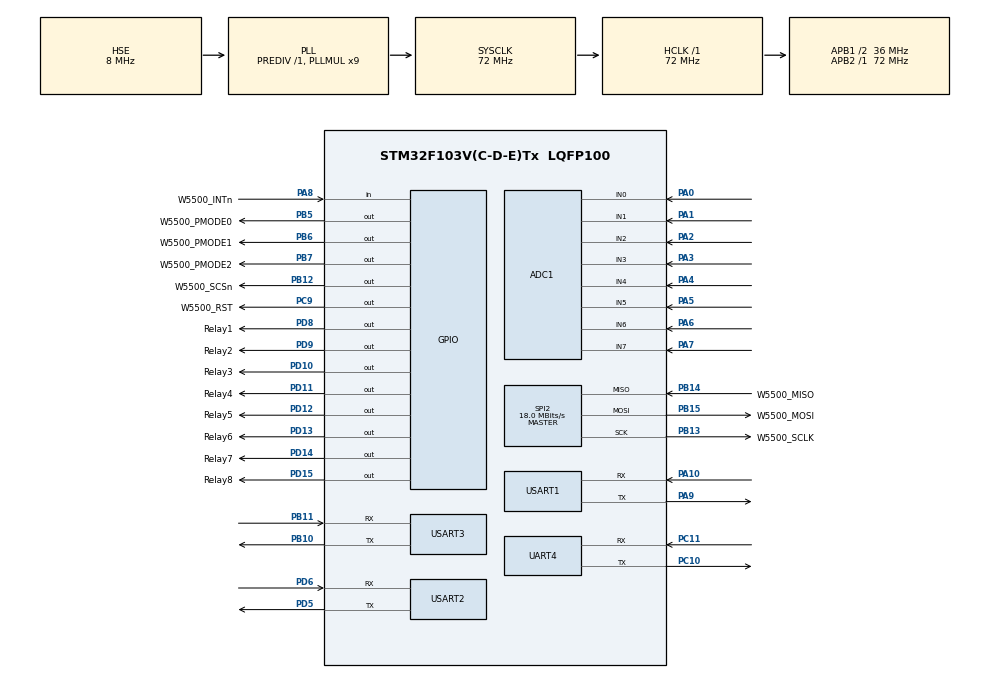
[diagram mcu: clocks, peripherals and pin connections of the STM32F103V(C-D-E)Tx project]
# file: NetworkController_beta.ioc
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ADC1.Channel-4\#ChannelRegularConversion=ADC_CHANNEL_5
ADC1.NbrOfConversionFlag=1
ADC1.Rank-4\#ChannelRegularConversion=1
ADC1.SamplingTime-4\#ChannelRegularConversion=ADC_SAMPLETIME_1CYCLE_5
ADC1.master=1
Mcu.Family=STM32F1
Mcu.Name=STM32F103V(C-D-E)Tx
Mcu.Package=LQFP100
NVIC.PriorityGroup=NVIC_PRIORITYGROUP_4
NVIC.TIM2_IRQn=true\:0\:0\:false\:false\:true\:true\:true\:true
OSC_IN.Mode=HSE-External-Oscillator
OSC_IN.Signal=RCC_OSC_IN
OSC_OUT.Mode=HSE-External-Oscillator
OSC_OUT.Signal=RCC_OSC_OUT
PA0-WKUP.Signal=ADCx_IN0
PA1.Signal=ADCx_IN1
PA10.Mode=Asynchronous
PA10.Signal=USART1_RX
PA13.Mode=JTAG_5_pins
PA13.Signal=SYS_JTMS-SWDIO
PA14.Mode=JTAG_5_pins
PA14.Signal=SYS_JTCK-SWCLK
PA15.Mode=JTAG_5_pins
PA15.Signal=SYS_JTDI
PA2.Signal=ADCx_IN2
PA3.Signal=ADCx_IN3
PA4.Signal=ADCx_IN4
PA5.Signal=ADCx_IN5
PA6.Signal=ADCx_IN6
PA7.Signal=ADCx_IN7
PA8.GPIO_Label=W5500_INTn
PA8.Signal=GPIO_Input
PA9.Mode=Asynchronous
PA9.Signal=USART1_TX
PB10.Mode=Asynchronous
PB10.Signal=USART3_TX
PB11.Mode=Asynchronous
PB11.Signal=USART3_RX
PB12.GPIO_Label=W5500_SCSn
PB12.Signal=GPIO_Output
PB13.GPIO_Label=W5500_SCLK
PB13.Mode=Full_Duplex_Master
PB13.Signal=SPI2_SCK
PB14.GPIO_Label=W5500_MISO
PB14.Mode=Full_Duplex_Master
PB14.Signal=SPI2_MISO
PB15.GPIO_Label=W5500_MOSI
PB15.Mode=Full_Duplex_Master
PB15.Signal=SPI2_MOSI
PB3.Mode=JTAG_5_pins
PB3.Signal=SYS_JTDO-TRACESWO
PB4.Mode=JTAG_5_pins
PB4.Signal=SYS_NJTRST
PB5.GPIO_Label=W5500_PMODE0
PB5.Signal=GPIO_Output
PB6.GPIO_Label=W5500_PMODE1
PB6.Signal=GPIO_Output
PB7.GPIO_Label=W5500_PMODE2
PB7.Signal=GPIO_Output
PC10.Mode=Asynchronous
PC10.Signal=UART4_TX
PC11.Mode=Asynchronous
PC11.Signal=UART4_RX
PC9.GPIO_Label=W5500_RST
PC9.Signal=GPIO_Output
PD10.GPIO_Label=Relay3
PD10.Signal=GPIO_Output
PD11.GPIO_Label=Relay4
PD11.Signal=GPIO_Output
PD12.GPIO_Label=Relay5
PD12.Signal=GPIO_Output
PD13.GPIO_Label=Relay6
PD13.Signal=GPIO_Output
PD14.GPIO_Label=Relay7
PD14.Signal=GPIO_Output
PD15.GPIO_Label=Relay8
PD15.Signal=GPIO_Output
PD5.Mode=Asynchronous
PD5.Signal=USART2_TX
PD6.Mode=Asynchronous
PD6.Signal=USART2_RX
PD8.GPIO_Label=Relay1
PD8.Signal=GPIO_Output
PD9.GPIO_Label=Relay2
PD9.Signal=GPIO_Output
ProjectManager.HeapSize=0x200
ProjectManager.StackSize=0x400
ProjectManager.TargetToolchain=Makefile
RCC.ADCPresc=RCC_ADCPCLK2_DIV6
RCC.AHBFreq_Value=72000000
RCC.APB1CLKDivider=RCC_HCLK_DIV2
RCC.APB1Freq_Value=36000000
RCC.APB1TimFreq_Value=72000000
RCC.APB2Freq_Value=72000000
RCC.APB2TimFreq_Value=72000000
RCC.HCLKFreq_Value=72000000
RCC.PLLMUL=RCC_PLL_MUL9
RCC.PLLSourceVirtual=RCC_PLLSOURCE_HSE
RCC.SYSCLKFreq_VALUE=72000000
RCC.SYSCLKSource=RCC_SYSCLKSOURCE_PLLCLK
RCC.USBFreq_Value=72000000
SH.ADCx_IN0.0=ADC1_IN0,IN0
SH.ADCx_IN1.0=ADC1_IN1,IN1
SH.ADCx_IN2.0=ADC1_IN2,IN2
SH.ADCx_IN3.0=ADC1_IN3,IN3
SH.ADCx_IN4.0=ADC1_IN4,IN4
SH.ADCx_IN5.0=ADC1_IN5,IN5
SH.ADCx_IN6.0=ADC1_IN6,IN6
SH.ADCx_IN7.0=ADC1_IN7,IN7
SPI2.CalculateBaudRate=18.0 MBits/s
SPI2.Direction=SPI_DIRECTION_2LINES
SPI2.Mode=SPI_MODE_MASTER
SPI2.VirtualType=VM_MASTER
TIM2.AutoReloadPreload=TIM_AUTORELOAD_PRELOAD_DISABLE
TIM2.Period=100-1
TIM2.Prescaler=7200-1
TIM3.Period=1000-1
TIM3.Prescaler=7200-1
UART4.VirtualMode=Asynchronous
USART1.VirtualMode=VM_ASYNC
USART2.VirtualMode=VM_ASYNC
USART3.VirtualMode=VM_ASYNC
VP_TIM2_VS_ClockSourceINT.Mode=Internal
VP_TIM3_VS_ClockSourceINT.Mode=Internal
board=custom

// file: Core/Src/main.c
/* USER CODE BEGIN Header */
/**
  ******************************************************************************
  * @file           : main.c
  * @brief          : Main program body
  ******************************************************************************
  * @attention
  *
  * Copyright (c) 2023 STMicroelectronics.
  * All rights reserved.
  *
  * This software is licensed under terms that can be found in the LICENSE file
  * in the root directory of this software component.
  * If no LICENSE file comes with this software, it is provided AS-IS.
  *
  ******************************************************************************
  */
/* USER CODE END Header */
#include "main.h"
#include "adc.h"
#include "spi.h"
#include "tim.h"
#include "usart.h"
#include "gpio.h"

/* USER CODE BEGIN Includes */
#include <stdio.h>
#include <string.h>
#include <errno.h>
#include "flash.h"
#include "clib.h"
#include "network.h"
#include "mqtt.h"
#include "at.h"
#include "control.h"
/* USER CODE END Includes */

/* USER CODE BEGIN PV */
mqtt_client_t mqtt_client1;

#ifndef DHCP_CONF
/*用户配置参数*/
userparameter_t user_config;

/*配置参数有效标志*/
uint8_t user_valid_flag = 0;
#endif
/* USER CODE END PV */

void SystemClock_Config(void);

/* USER CODE BEGIN 0 */
int _write(int file, char* data, int len)
{
    if ((file != STDOUT_FILENO) && (file != STDERR_FILENO)) {
        errno = EBADF;
        return -1;
    }
    // arbitrary timeout 1000
    HAL_StatusTypeDef status =
        HAL_UART_Transmit(&huart1, (uint8_t*)data, len, 1000);
    // return # of bytes written - as best we can tell
    return (status == HAL_OK ? len : 0);
}
/* USER CODE END 0 */

int main(void)
{

  /* MCU Configuration--------------------------------------------------------*/

  /* Reset of all peripherals, Initializes the Flash interface and the Systick. */
  HAL_Init();

  /* Configure the system clock */
  SystemClock_Config();

  /* Initialize all configured peripherals */
  MX_GPIO_Init();
  MX_USART1_UART_Init();
  MX_TIM2_Init();
  MX_ADC1_Init();
  MX_SPI2_Init();
  MX_TIM3_Init();
  MX_UART4_Init();
  MX_USART2_UART_Init();
  MX_USART3_UART_Init();
  /* USER CODE BEGIN 2 */

    /* W5500库回调函数注册 */
    Wizchip_Callback_Init();
#ifdef USER_CONF
    /* 用户网络参数配置 */
    // Network_UserConfig_Init();
#endif
    /* 网络初始化 */
    Network_Init();
  /* USER CODE END 2 */

  /* Infinite loop */
  /* USER CODE BEGIN WHILE */
    while (1) {
        if (PHY_LINK_ON == Network_PHYLink_Check()) {
#ifdef DHCP_CONF
            DHCP_ClientDaemon();
#else
            Network_UserConfig_SettingDaemon(SOC_SETTING, &user_config, user_valid_flag);
#endif
            if (1 == net_flag) {
                if (SOCK_CLOSED == getSn_SR(SOC_MQTT)) {
                    MQTT_Init(&mqtt_client1);
                }
                if (SOCK_ESTABLISHED == getSn_SR(SOC_MQTT)) {
                    MQTT_ClientDaemon(&mqtt_client1);
                    AT_CMD_Parse(at_buf, sizeof(at_buf));
                }
            }
        }
        else {
            net_flag = 0;
        }

        // Computer_Execute();
        // Projector_Execute();
    }
    /* USER CODE END WHILE */

}

void SystemClock_Config(void)
{
  RCC_OscInitTypeDef RCC_OscInitStruct = {0};
  RCC_ClkInitTypeDef RCC_ClkInitStruct = {0};
  RCC_PeriphCLKInitTypeDef PeriphClkInit = {0};

  /** Initializes the RCC Oscillators according to the specified parameters
  * in the RCC_OscInitTypeDef structure.
  */
  RCC_OscInitStruct.OscillatorType = RCC_OSCILLATORTYPE_HSE;
  RCC_OscInitStruct.HSEState = RCC_HSE_ON;
  RCC_OscInitStruct.HSEPredivValue = RCC_HSE_PREDIV_DIV1;
  RCC_OscInitStruct.HSIState = RCC_HSI_ON;
  RCC_OscInitStruct.PLL.PLLState = RCC_PLL_ON;
  RCC_OscInitStruct.PLL.PLLSource = RCC_PLLSOURCE_HSE;
  RCC_OscInitStruct.PLL.PLLMUL = RCC_PLL_MUL9;
  if (HAL_RCC_OscConfig(&RCC_OscInitStruct) != HAL_OK)
  {
    Error_Handler();
  }

  /** Initializes the CPU, AHB and APB buses clocks
  */
  RCC_ClkInitStruct.ClockType = RCC_CLOCKTYPE_HCLK|RCC_CLOCKTYPE_SYSCLK
                              |RCC_CLOCKTYPE_PCLK1|RCC_CLOCKTYPE_PCLK2;
  RCC_ClkInitStruct.SYSCLKSource = RCC_SYSCLKSOURCE_PLLCLK;
  RCC_ClkInitStruct.AHBCLKDivider = RCC_SYSCLK_DIV1;
  RCC_ClkInitStruct.APB1CLKDivider = RCC_HCLK_DIV2;
  RCC_ClkInitStruct.APB2CLKDivider = RCC_HCLK_DIV1;

  if (HAL_RCC_ClockConfig(&RCC_ClkInitStruct, FLASH_LATENCY_2) != HAL_OK)
  {
    Error_Handler();
  }
  PeriphClkInit.PeriphClockSelection = RCC_PERIPHCLK_ADC;
  PeriphClkInit.AdcClockSelection = RCC_ADCPCLK2_DIV6;
  if (HAL_RCCEx_PeriphCLKConfig(&PeriphClkInit) != HAL_OK)
  {
    Error_Handler();
  }
}

void Error_Handler(void)
{
    __disable_irq();
    while (1) {
    }
}
